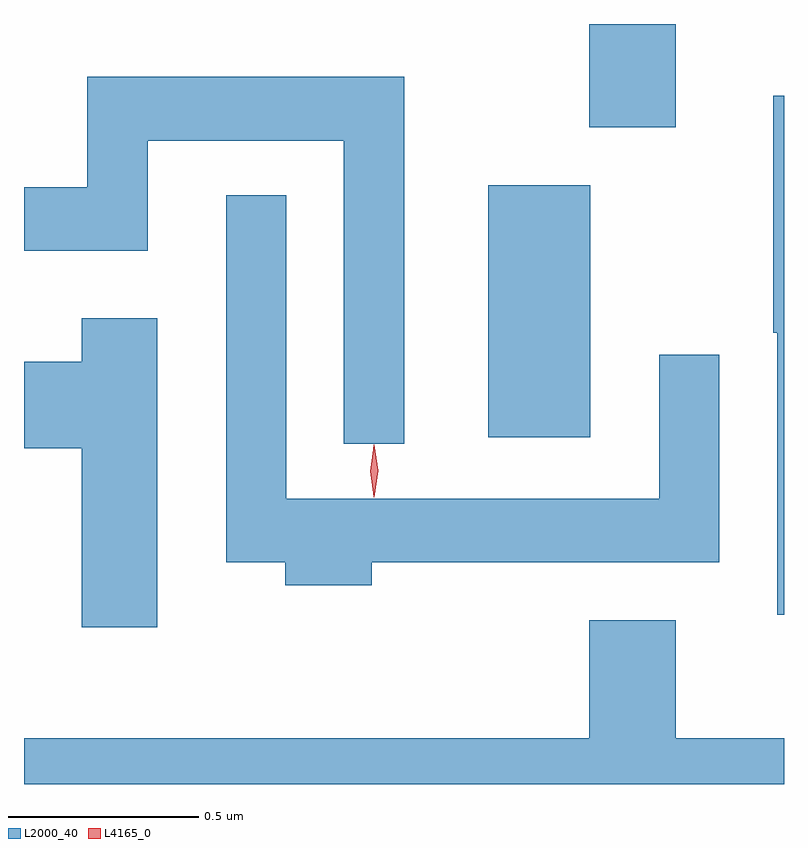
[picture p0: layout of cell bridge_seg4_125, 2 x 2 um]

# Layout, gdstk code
import gdstk
lib = gdstk.Library(unit=1e-6, precision=1e-09)
def R(c, l, rs):  # rectangles x0, y0, x1, y1
    for r in rs: c.add(gdstk.rectangle(r[:2], r[2:], *l))
def P(c, l, *ps):  # polygons
    for p in ps: c.add(gdstk.Polygon(p, *l))
L2000_40 = (2000, 40)
L4165_0 = (4165, 0)

bridge_seg4_125 = lib.new_cell('bridge_seg4_125')
R(bridge_seg4_125, L2000_40, [(911.596,1300.236,911.864,1300.899), (911.861,1301.051,912.089,1301.323)])
P(bridge_seg4_125, L2000_40, [(911.374,1301.184),(910.541,1301.184),(910.541,1300.894),(910.374,1300.894),(910.374,1300.726),(910.699,1300.726),(910.699,1301.016),(911.216,1301.016),(911.216,1300.218),(911.374,1300.218)],
  [(912.374,1301.134),(912.346,1301.134),(912.346,1300.51),(912.356,1300.51),(912.356,1299.768),(912.374,1299.768)],
  [(911.289,1299.906),(912.204,1299.906),(912.204,1300.453),(912.046,1300.453),(912.046,1300.074),(911.064,1300.074),(911.064,1300.873),(910.906,1300.873),(910.906,1299.906),(911.061,1299.906),(911.061,1299.846),(911.289,1299.846)],
  [(910.724,1300.549),(910.526,1300.549),(910.526,1300.434),(910.374,1300.434),(910.374,1300.206),(910.526,1300.206),(910.526,1299.736),(910.724,1299.736)],
  [(912.374,1299.444),(912.089,1299.444),(912.089,1299.754),(911.861,1299.754),(911.861,1299.444),(910.374,1299.444),(910.374,1299.323),(912.374,1299.323)])
P(bridge_seg4_125, L4165_0, [(911.295,1300.079),(911.295,1300.08),(911.285,1300.146),(911.295,1300.212),(911.295,1300.213),(911.296,1300.212),(911.305,1300.146),(911.296,1300.08)],
  [(911.296,1300.077),(911.295,1300.078),(911.286,1300.147),(911.295,1300.216),(911.296,1300.216),(911.296,1300.216),(911.306,1300.147),(911.296,1300.078)])

lib.write_gds('bridge_seg4_125.gds')
